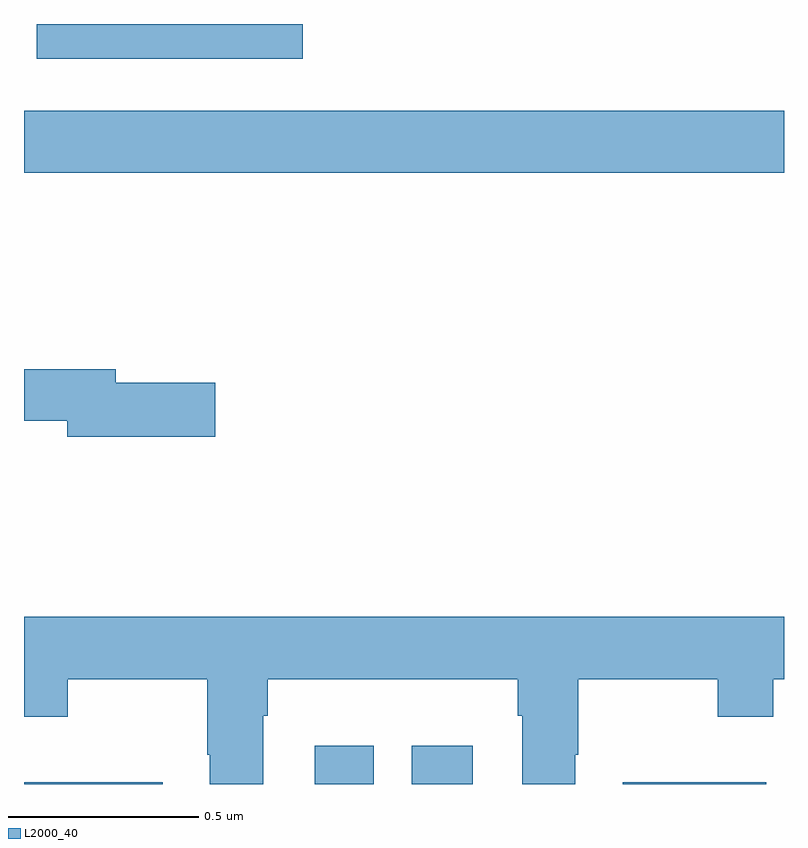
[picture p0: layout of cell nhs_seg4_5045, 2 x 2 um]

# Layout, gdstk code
import gdstk
lib = gdstk.Library(unit=1e-6, precision=1e-09)
def R(c, l, rs):  # rectangles x0, y0, x1, y1
    for r in rs: c.add(gdstk.rectangle(r[:2], r[2:], *l))
def P(c, l, *ps):  # polygons
    for p in ps: c.add(gdstk.Polygon(p, *l))
L2000_40 = (2000, 40)

nhs_seg4_5045 = lib.new_cell('nhs_seg4_5045')
R(nhs_seg4_5045, L2000_40, [(173,773.9,173.365,773.905), (173.765,773.9,173.92,774.001), (174.02,773.9,174.181,774.001), (174.576,773.9,174.953,773.905), (173,775.508,175,775.672), (173.033,775.808,173.734,775.9)])
P(nhs_seg4_5045, L2000_40, [(173.503,774.956),(173.242,774.956),(173.242,774.992),(173,774.992),(173,774.856),(173.114,774.856),(173.114,774.814),(173.503,774.814)],
  [(173.629,774.08),(173.642,774.08),(173.642,774.176),(174.299,774.176),(174.299,774.08),(174.311,774.08),(174.311,773.9),(174.451,773.9),(174.451,773.977),(174.459,773.977),(174.459,774.176),(174.826,774.176),(174.826,774.077),(174.972,774.077),(174.972,774.176),(175,774.176),(175,774.34),(173,774.34),(173,774.077),(173.115,774.077),(173.115,774.176),(173.482,774.176),(173.482,773.977),(173.489,773.977),(173.489,773.9),(173.629,773.9)])

lib.write_gds('nhs_seg4_5045.gds')
